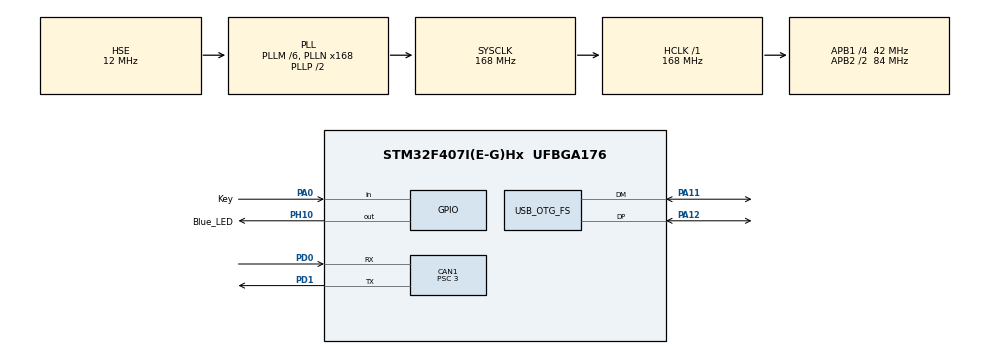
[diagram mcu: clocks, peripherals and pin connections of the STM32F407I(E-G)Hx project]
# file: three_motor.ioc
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CAN1.AutoBusOff=ENABLE
CAN1.AutoRetransmission=ENABLE
CAN1.BS1=CAN_BS1_10TQ
CAN1.BS2=CAN_BS2_3TQ
CAN1.CalculateBaudRate=1000000
CAN1.CalculateTimeBit=1000
CAN1.CalculateTimeQuantum=71.42857142857143
CAN1.Prescaler=3
Mcu.Family=STM32F4
Mcu.Name=STM32F407I(E-G)Hx
Mcu.Package=UFBGA176
NVIC.CAN1_RX0_IRQn=true\:1\:0\:false\:false\:true\:true\:true\:true
NVIC.OTG_FS_IRQn=true\:0\:0\:false\:false\:true\:false\:true\:true
NVIC.PriorityGroup=NVIC_PRIORITYGROUP_4
NVIC.TIM6_DAC_IRQn=true\:1\:0\:false\:false\:true\:true\:true\:true
PA0-WKUP.GPIO_Label=Key
PA0-WKUP.GPIO_PuPd=GPIO_PULLUP
PA0-WKUP.Signal=GPIO_Input
PA11.Mode=Device_Only
PA11.Signal=USB_OTG_FS_DM
PA12.Mode=Device_Only
PA12.Signal=USB_OTG_FS_DP
PD0.Mode=CAN_Activate
PD0.Signal=CAN1_RX
PD1.Mode=CAN_Activate
PD1.Signal=CAN1_TX
PH0-OSC_IN.Mode=HSE-External-Oscillator
PH0-OSC_IN.Signal=RCC_OSC_IN
PH1-OSC_OUT.Mode=HSE-External-Oscillator
PH1-OSC_OUT.Signal=RCC_OSC_OUT
PH10.GPIO_Label=Blue_LED
PH10.Signal=GPIO_Output
ProjectManager.HeapSize=0x200
ProjectManager.StackSize=0x400
ProjectManager.TargetToolchain=CMake
RCC.48MHZClocksFreq_Value=48000000
RCC.AHBFreq_Value=168000000
RCC.APB1CLKDivider=RCC_HCLK_DIV4
RCC.APB1Freq_Value=42000000
RCC.APB1TimFreq_Value=84000000
RCC.APB2CLKDivider=RCC_HCLK_DIV2
RCC.APB2Freq_Value=84000000
RCC.APB2TimFreq_Value=168000000
RCC.CortexFreq_Value=168000000
RCC.HCLKFreq_Value=168000000
RCC.HSE_VALUE=12000000
RCC.HSI_VALUE=16000000
RCC.LSE_VALUE=32768
RCC.PLLM=6
RCC.PLLN=168
RCC.PLLQ=7
RCC.SYSCLKFreq_VALUE=168000000
RCC.SYSCLKSource=RCC_SYSCLKSOURCE_PLLCLK
RCC.VCOOutputFreq_Value=336000000
TIM6.Period=999
TIM6.Prescaler=83
USB_DEVICE.CLASS_NAME_FS=CDC
USB_DEVICE.VirtualMode-CDC_FS=Cdc
USB_DEVICE.VirtualModeFS=Cdc_FS
USB_OTG_FS.VirtualMode=Device_Only
USB_OTG_FS.vbus_sensing_enable=DISABLE
VP_TIM6_VS_ClockSourceINT.Mode=Enable_Timer
VP_USB_DEVICE_VS_USB_DEVICE_CDC_FS.Mode=CDC_FS
board=custom

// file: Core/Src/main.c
/* USER CODE BEGIN Header */
/**
  ******************************************************************************
  * @file           : main.c
  * @brief          : Main program body
  ******************************************************************************
  * @attention
  *
  * Copyright (c) 2026 STMicroelectronics.
  * All rights reserved.
  *
  * This software is licensed under terms that can be found in the LICENSE file
  * in the root directory of this software component.200 Hz 更新频率，而刚选的 20 Hz 是滤波截止频率
  * If no LICENSE file comes with this software, it is provided AS-IS.
  *
  ******************************************************************************
  */
/* USER CODE END Header */
#include "main.h"
#include "usb_device.h"

/* USER CODE BEGIN Includes */
#include "can_motor.h"
#include "gravity_compensation.h"
#include "pid.h"
#include <stdbool.h>
#include <stdio.h>
#include <string.h>
#include "bsp_usb.h"
/* USER CODE END Includes */

/* USER CODE BEGIN PD */
#define USB_TELEMETRY_PERIOD_MS 5U
// 三路最终电流输出比例；上位机修改仅本次上电有效。
#define MOTOR_1_OUTPUT_SCALE 1.0f
#define MOTOR_2_OUTPUT_SCALE 0.9f
#define MOTOR_3_OUTPUT_SCALE 1.1f
#define SPEED_LOOP_PERIOD_MS 5U
// config/333motor-tuning-2026-11-01T07-16-08-871Z.json：每台电机的上升/下降默认PID。
#define MOTOR_1_PID_UP_KP 6.5f
#define MOTOR_1_PID_UP_KI 26.0f
#define MOTOR_1_PID_UP_KD 0.0f
#define MOTOR_1_PID_DOWN_KP 7.0f
#define MOTOR_1_PID_DOWN_KI 15.0f
#define MOTOR_1_PID_DOWN_KD 0.0f
#define MOTOR_2_PID_UP_KP 6.0f
#define MOTOR_2_PID_UP_KI 54.0f
#define MOTOR_2_PID_UP_KD 0.0f
#define MOTOR_2_PID_DOWN_KP 8.4f
#define MOTOR_2_PID_DOWN_KI 40.0f
#define MOTOR_2_PID_DOWN_KD 0.0f
#define MOTOR_3_PID_UP_KP 6.0f
#define MOTOR_3_PID_UP_KI 50.0f
#define MOTOR_3_PID_UP_KD 0.0f
#define MOTOR_3_PID_DOWN_KP 6.5f
#define MOTOR_3_PID_DOWN_KI 40.0f
#define MOTOR_3_PID_DOWN_KD 0.0f
// 角度外环输出单位deg/s；按config/333motor-tuning-2026-11-01T07-16-08-871Z.json固化，上电不启动角度环。
#define ANGLE_PID_KP 9.0f
#define ANGLE_PID_KI 2.0f
#define ANGLE_PID_KD 0.0f
#define ANGLE_MAX_SPEED_DPS 100.0f
#define ANGLE_MIN_SPEED_DPS 50.0f
#define MOTOR_3_ANGLE_PID_UP_KI 3.0f
#define MOTOR_3_ANGLE_MAX_SPEED_DPS 150.0f
#define MOTOR_3_ANGLE_MIN_SPEED_DPS 40.0f
#define ANGLE_SETTLE_ERROR_DEG 0.7f
#define ANGLE_SETTLE_TIME_MS 10U
#define SPEED_FRICTION_RAW 0
#define STATIC_FRICTION_REST_MS 20U
#define MOTOR_1_FRICTION_MOVE_MDEG 1000
#define MOTOR_2_FRICTION_MOVE_MDEG 1000
#define MOTOR_3_FRICTION_MOVE_MDEG 50

/* USER CODE END PD */

CAN_HandleTypeDef hcan1;

TIM_HandleTypeDef htim6;

/* USER CODE BEGIN PV */
// 各电机首次反馈位置标定为 12.77 度，后续按编码器相对变化更新。
volatile float gravity_angle_deg[3] = {CAN_MOTOR_INITIAL_ANGLE_DEG,
                                      CAN_MOTOR_INITIAL_ANGLE_DEG,
                                      CAN_MOTOR_INITIAL_ANGLE_DEG};
// 正解得到的当前位姿；0.09 m 仅为牛顿迭代初值，不是运动目标。
volatile float gravity_pose[3] = {0.0f, 0.0f, 0.09f};
// 输出端重力补偿比例，可在调试器中修改。
volatile float k_g = 1.6f;
volatile float motor_output_scale[3] = {MOTOR_1_OUTPUT_SCALE,
                                      MOTOR_2_OUTPUT_SCALE,
                                      MOTOR_3_OUTPUT_SCALE};
// 所有允许重力补偿的模式：true 按实测上升补偿，false 持续补偿。
volatile bool gravity_upward_only_mode = true;
volatile float gravity_torque_cmd_nm[3];
volatile int16_t gravity_current_cmd[3];
// USB 起动增量/固定指令模式，共享所选电机与心跳；临界区内发布。
static volatile uint8_t control_mode = 1U, test_motor = 0U;
static volatile int16_t test_delta = 0, fixed_current = 0;
static volatile int8_t test_direction = 0;  // -1 抬升；+1 下降，仅表示测试增量方向。
static volatile uint32_t test_last_ms = 0;
static volatile int16_t sent_current[3], sent_requested_raw;
static volatile int32_t sent_base[3], sent_delta[3];
#define RX_CAPACITY 256U
static volatile uint8_t rx_buf[RX_CAPACITY];
static volatile uint16_t rx_head, rx_tail;
static volatile uint8_t rx_overflow;
// 速度单位为输出轴 deg/s；电流及摩擦前馈单位为 raw。
typedef struct { float kp, ki, kd; } SpeedPidGains;
// [电机][0上升/1下降]；每路仅保存一份PID状态，换向时复位。
static SpeedPidGains speed_pid_gains[3][2] = {
    {{MOTOR_1_PID_UP_KP, MOTOR_1_PID_UP_KI, MOTOR_1_PID_UP_KD},
     {MOTOR_1_PID_DOWN_KP, MOTOR_1_PID_DOWN_KI, MOTOR_1_PID_DOWN_KD}},
    {{MOTOR_2_PID_UP_KP, MOTOR_2_PID_UP_KI, MOTOR_2_PID_UP_KD},
     {MOTOR_2_PID_DOWN_KP, MOTOR_2_PID_DOWN_KI, MOTOR_2_PID_DOWN_KD}},
    {{MOTOR_3_PID_UP_KP, MOTOR_3_PID_UP_KI, MOTOR_3_PID_UP_KD},
     {MOTOR_3_PID_DOWN_KP, MOTOR_3_PID_DOWN_KI, MOTOR_3_PID_DOWN_KD}}};
static int8_t speed_pid_direction[3] = {-1, -1, -1};
static Pid_type speed_pid[3], angle_pid[3];
static SpeedPidGains angle_pid_gains[3][2] = {
    {{ANGLE_PID_KP, ANGLE_PID_KI, ANGLE_PID_KD}, {ANGLE_PID_KP, ANGLE_PID_KI, ANGLE_PID_KD}},
    {{ANGLE_PID_KP, ANGLE_PID_KI, ANGLE_PID_KD}, {ANGLE_PID_KP, ANGLE_PID_KI, ANGLE_PID_KD}},
    {{ANGLE_PID_KP, MOTOR_3_ANGLE_PID_UP_KI, ANGLE_PID_KD}, {ANGLE_PID_KP, ANGLE_PID_KI, ANGLE_PID_KD}}};
static int8_t angle_pid_direction[3] = {-1, -1, -1};
static volatile float angle_settle_error_deg = ANGLE_SETTLE_ERROR_DEG;
static volatile uint16_t angle_settle_time_ms = ANGLE_SETTLE_TIME_MS;
// 0纠偏、1范围内计时、2稳定到位；每路独立，判定周期1ms。
static volatile uint8_t angle_settle_state[3];
static uint32_t angle_settle_started_ms[3];
// 333motor-tuning-2026-11-01T07-16-08-871Z.json预设目标；上电仍为普通模式，收到A指令才运行角度环。
static volatile float angle_target[3] = {-70.0f,-30.0f,-30.0f};
static volatile float angle_max_speed[3] = {ANGLE_MAX_SPEED_DPS, ANGLE_MAX_SPEED_DPS,
                                          MOTOR_3_ANGLE_MAX_SPEED_DPS};
static volatile float angle_min_speed[3] = {ANGLE_MIN_SPEED_DPS, ANGLE_MIN_SPEED_DPS,
                                          MOTOR_3_ANGLE_MIN_SPEED_DPS};
static volatile uint16_t speed_period_ms = SPEED_LOOP_PERIOD_MS;
static volatile uint16_t filter_period_ms = CAN_SPEED_FILTER_PERIOD_MS;
static volatile uint8_t speed_divider, filter_divider;
static volatile float speed_target[3], speed_measured[3];
static volatile int16_t speed_pid_cmd[3], speed_friction_cmd[3];
static volatile int32_t friction_last_encoder[3], friction_start_encoder[3];
static volatile int32_t friction_move_mdeg[3] = {MOTOR_1_FRICTION_MOVE_MDEG,
                                               MOTOR_2_FRICTION_MOVE_MDEG,
                                               MOTOR_3_FRICTION_MOVE_MDEG};
static uint32_t friction_last_motion_ms[3];
static volatile int8_t friction_direction[3];
static volatile bool friction_starting[3];
static volatile int16_t motor_friction_raw[3] = {SPEED_FRICTION_RAW,
                                               SPEED_FRICTION_RAW,
                                               SPEED_FRICTION_RAW};

/* USER CODE END PV */

void SystemClock_Config(void);
static void MX_GPIO_Init(void);
static void MX_TIM6_Init(void);
static void MX_CAN1_Init(void);

/* USER CODE BEGIN 0 */
static int32_t ScaleCurrent(int32_t raw, float scale) {
  float value = raw * scale;
  return (int32_t)(value + (value < 0.0f ? -0.5f : 0.5f));
}

static void LoadSpeedPidGains(int motor) {
  const SpeedPidGains *g = &speed_pid_gains[motor][speed_pid_direction[motor] > 0];
  speed_pid[motor].kp = g->kp; speed_pid[motor].ki = g->ki; speed_pid[motor].kd = g->kd;
}

static void LoadAnglePidGains(int motor) {
  const SpeedPidGains *g = &angle_pid_gains[motor][angle_pid_direction[motor] > 0];
  angle_pid[motor].kp = g->kp; angle_pid[motor].ki = g->ki; angle_pid[motor].kd = g->kd;
}

void BSP_USB_ReceiveCallback(const uint8_t *data, uint32_t length) {
  for (uint32_t i = 0; i < length; ++i) {
    uint16_t next = (uint16_t)((rx_head + 1U) % RX_CAPACITY);
    if (next == rx_tail) { rx_overflow = 1U; continue; }
    rx_buf[rx_head] = data[i]; rx_head = next;
  }
}

static void HandleUsbLine(char *line, uint32_t now) {
  int a, b, c, d, e, f, g = 0, consumed = 0;
  if (sscanf(line, "P,%d%n", &a, &consumed) == 1 &&
      line[consumed] == '\0' && a >= 0 && a <= 5000) {
    k_g = (float)a / 1000.0f;
  } else if (sscanf(line, "R,%d,%d,%d%n", &a, &b, &c, &consumed) == 3 &&
             line[consumed] == '\0' && a >= 0 && a <= 5000 &&
             b >= 0 && b <= 5000 && c >= 0 && c <= 5000) {
    uint32_t mask = __get_PRIMASK(); __disable_irq();
    motor_output_scale[0] = a / 1000.0f;
    motor_output_scale[1] = b / 1000.0f;
    motor_output_scale[2] = c / 1000.0f;
    __set_PRIMASK(mask);
  } else if (sscanf(line, "U,%d,%d%n", &a, &b, &consumed) == 2 &&
             line[consumed] == '\0' && a >= 1 && a <= 50 && b >= 1 && b <= 20) {
    uint32_t mask = __get_PRIMASK(); __disable_irq();
    speed_period_ms = (uint16_t)a; filter_period_ms = (uint16_t)b;
    speed_divider = 0U; filter_divider = 0U;
    CAN_SetSpeedFilterPeriod(filter_period_ms);
    for (int i = 0; i < 3; ++i) {
      speed_pid[i].dt = a * 0.001f; Pid_Reset(&speed_pid[i]); speed_pid_cmd[i] = 0;
      angle_pid[i].dt = a * 0.001f; Pid_Reset(&angle_pid[i]); angle_settle_state[i] = 0U;
      if (control_mode == 6U) speed_target[i] = 0.0f;
    }
    __set_PRIMASK(mask);
  } else if (sscanf(line, "H,%d,%d%n", &a, &b, &consumed) == 2 &&
             line[consumed] == '\0' && a >= 1 && a <= 10000 && b >= 1 && b <= 5000) {
    uint32_t mask = __get_PRIMASK(); __disable_irq();
    angle_settle_error_deg = a / 1000.0f; angle_settle_time_ms = (uint16_t)b;
    for (int i = 0; i < 3; ++i) angle_settle_state[i] = 0U;
    __set_PRIMASK(mask);
  } else if (sscanf(line, "J,%d,%d,%d,%d,%d,%d%n,%d%n", &a, &b, &c, &d, &e, &f,
                    &consumed, &g, &consumed) >= 6 &&
             line[consumed] == '\0' && a >= 1 && a <= 3 && (b == -1 || b == 1) &&
             c >= 0 && d >= 0 && e >= 0 && f >= 1 && f <= 180000 && g >= 0 && g <= f) {
    uint32_t mask = __get_PRIMASK(); __disable_irq();
    angle_pid_gains[a - 1][b > 0] = (SpeedPidGains){c / 1000.0f, d / 1000.0f, e / 1000.0f};
    bool reset = angle_pid_direction[a - 1] == b || angle_max_speed[a - 1] != f / 1000.0f ||
                 angle_min_speed[a - 1] != g / 1000.0f;
    angle_min_speed[a - 1] = g / 1000.0f;  // 旧J未带下限时为0，保留旧行为。
    angle_max_speed[a - 1] = f / 1000.0f;
    angle_pid[a - 1].max_output = angle_pid[a - 1].max_ki_output = angle_max_speed[a - 1];
    if (angle_pid_direction[a - 1] == b) LoadAnglePidGains(a - 1);
    if (reset) {
      Pid_Reset(&angle_pid[a - 1]); angle_settle_state[a - 1] = 0U;
      if (control_mode == 6U) { speed_target[a - 1] = 0.0f; speed_pid_cmd[a - 1] = 0; }
    }
    __set_PRIMASK(mask);
  } else if (sscanf(line, "K,%d,%d,%d,%d,%d,%d%n", &a, &b, &c, &d, &e, &f, &consumed) == 6 &&
             line[consumed] == '\0' && a >= 1 && a <= 3 && (b == -1 || b == 1) &&
             c >= 0 && d >= 0 && e >= 0 && f >= 0 && f <= 16384) {
    uint32_t mask = __get_PRIMASK(); __disable_irq();
    speed_pid_gains[a - 1][b > 0] = (SpeedPidGains){c / 1000.0f, d / 1000.0f, e / 1000.0f};
    motor_friction_raw[a - 1] = (int16_t)f;
    if (speed_pid_direction[a - 1] == b) {
      LoadSpeedPidGains(a - 1); Pid_Reset(&speed_pid[a - 1]); speed_pid_cmd[a - 1] = 0;
    }
    __set_PRIMASK(mask);
  } else if (sscanf(line, "K,%d,%d,%d,%d,%d%n", &a, &b, &c, &d, &e, &consumed) == 5 &&
             line[consumed] == '\0' && a >= 1 && a <= 3 &&
             b >= 0 && c >= 0 && d >= 0 && e >= 0 && e <= 16384) {
    // 兼容旧上位机：旧K指令同时设置上下两组。
    uint32_t mask = __get_PRIMASK(); __disable_irq();
    speed_pid_gains[a - 1][0] = speed_pid_gains[a - 1][1] =
        (SpeedPidGains){b / 1000.0f, c / 1000.0f, d / 1000.0f};
    motor_friction_raw[a - 1] = (int16_t)e;
    LoadSpeedPidGains(a - 1); Pid_Reset(&speed_pid[a - 1]); speed_pid_cmd[a - 1] = 0;
    __set_PRIMASK(mask);
  } else if (sscanf(line, "T,%d,%d%n", &a, &b, &consumed) == 2 &&
             line[consumed] == '\0' && a >= 1 && a <= 3 && b >= 1 && b <= 1000) {
    friction_move_mdeg[a - 1] = b;
  } else if (sscanf(line, "B,%d%n", &a, &consumed) == 1 &&
             line[consumed] == '\0' && a >= 1 && a <= 3) {
    uint32_t mask = __get_PRIMASK(); __disable_irq();
    if (control_mode >= 5U && speed_target[a - 1] != 0.0f) {
      friction_last_encoder[a - 1] = CAN_GetMotorMeasure(a)->total_ecd;
      friction_start_encoder[a - 1] = friction_last_encoder[a - 1];
      friction_direction[a - 1] = speed_target[a - 1] > 0.0f ? 1 : -1;
      friction_starting[a - 1] = true;
    }
    __set_PRIMASK(mask);
  } else if (sscanf(line, "A,%d,%d,%d%n", &a, &b, &c, &consumed) == 3 &&
             line[consumed] == '\0' && a >= -180000 && a <= 180000 &&
             b >= -180000 && b <= 180000 && c >= -180000 && c <= 180000) {
    uint32_t mask = __get_PRIMASK(); __disable_irq();
    if (control_mode != 6U) {
      for (int i = 0; i < 3; ++i) {
        Pid_Reset(&angle_pid[i]); Pid_Reset(&speed_pid[i]); angle_settle_state[i] = 0U;
        speed_target[i] = 0.0f; speed_pid_cmd[i] = 0;
      }
    }
    const float target[3] = {a / 1000.0f, b / 1000.0f, c / 1000.0f};
    for (int i = 0; i < 3; ++i) {
      if (angle_target[i] != target[i]) angle_settle_state[i] = 0U;
      angle_target[i] = target[i];
    }
    test_motor = 0U; test_delta = 0; fixed_current = 0; test_direction = 0;
    test_last_ms = now; control_mode = 6U;
    __set_PRIMASK(mask);
  } else if (sscanf(line, "V,%d,%d,%d%n", &a, &b, &c, &consumed) == 3 &&
             line[consumed] == '\0' && a >= -180000 && a <= 180000 &&
             b >= -180000 && b <= 180000 && c >= -180000 && c <= 180000) {
    uint32_t mask = __get_PRIMASK(); __disable_irq();
    if (control_mode != 5U) {
      for (int i = 0; i < 3; ++i) Pid_Reset(&speed_pid[i]);
    }
    speed_target[0] = a / 1000.0f;
    speed_target[1] = b / 1000.0f;
    speed_target[2] = c / 1000.0f;
    test_motor = 0U; test_delta = 0; fixed_current = 0; test_direction = 0;
    test_last_ms = now; control_mode = 5U;
    __set_PRIMASK(mask);
  } else if (sscanf(line, "D,%d,%d,%d%n", &a, &b, &c, &consumed) == 3 &&
             line[consumed] == '\0' && a >= 1 && a <= 3 && (b == -1 || b == 1) &&
             c >= -16384 && c <= 16384 && b * c >= 0) {
    uint32_t mask = __get_PRIMASK(); __disable_irq();
    test_motor = (uint8_t)a; test_direction = (int8_t)b;
    test_delta = (int16_t)c; fixed_current = 0; test_last_ms = now; control_mode = 2U;
    __set_PRIMASK(mask);
  } else if (sscanf(line, "F,%d,%d,%d%n", &a, &b, &c, &consumed) == 3 &&
             line[consumed] == '\0' && a >= 1 && a <= 3 && (b == 0 || b == 1) &&
             c >= -16384 && c <= 16384) {
    uint32_t mask = __get_PRIMASK(); __disable_irq();
    test_motor = (uint8_t)a; fixed_current = (int16_t)c;
    test_delta = 0; test_direction = 0; test_last_ms = now; control_mode = b ? 4U : 3U;
    __set_PRIMASK(mask);
  } else if (strcmp(line, "S") == 0 || strcmp(line, "G") == 0) {
    uint32_t mask = __get_PRIMASK(); __disable_irq();
    test_motor = 0U; test_delta = 0; fixed_current = 0; test_direction = 0;
    control_mode = line[0] == 'S' ? 0U : 1U;
    __set_PRIMASK(mask);
  }
}

static void ProcessUsb(uint32_t now) {
  static char line[64]; static uint8_t used, discard;
  if (rx_overflow) {
    uint32_t mask = __get_PRIMASK(); __disable_irq();
    rx_tail = rx_head; rx_overflow = 0U; __set_PRIMASK(mask);
    used = 0U; discard = 1U;
  }
  while (rx_tail != rx_head) {
    char c = (char)rx_buf[rx_tail]; rx_tail = (uint16_t)((rx_tail + 1U) % RX_CAPACITY);
    if (c == '\n') {
      if (!discard) { if (used && line[used - 1U] == '\r') --used; line[used] = '\0'; HandleUsbLine(line, now); }
      used = 0U; discard = 0U;
    } else if (!discard) {
      if (used < sizeof(line) - 1U) line[used++] = c; else discard = 1U;
    }
  }
}

/* USER CODE END 0 */

int main(void)
{

  /* MCU Configuration--------------------------------------------------------*/

  /* Reset of all peripherals, Initializes the Flash interface and the Systick. */
  HAL_Init();

  /* Configure the system clock */
  SystemClock_Config();

  /* Initialize all configured peripherals */
  MX_GPIO_Init();
  MX_TIM6_Init();
  MX_CAN1_Init();
  MX_USB_DEVICE_Init();
  /* USER CODE BEGIN 2 */
  if (CAN_MotorStart() != HAL_OK) {
    Error_Handler();
  }
  for (int i = 0; i < 3; ++i) {
    const SpeedPidGains *g = &speed_pid_gains[i][0];
    Pid_Init(&speed_pid[i], g->kp, g->ki, g->kd,
             16384.0f, 16384.0f, speed_period_ms * 0.001f);
    g = &angle_pid_gains[i][0];
    Pid_Init(&angle_pid[i], g->kp, g->ki, g->kd,
             angle_max_speed[i], angle_max_speed[i], speed_period_ms * 0.001f);
  }
  if (HAL_TIM_Base_Start_IT(&htim6) != HAL_OK) {
    Error_Handler();
  }
  /* USER CODE END 2 */

  while (1)
  {

    /* USER CODE BEGIN 3 */
    static uint32_t last_compute_ms = 0;
    static uint32_t last_send_ms = 0;
    static char usb_tx_buffer[1280];
    uint32_t now = HAL_GetTick();
    ProcessUsb(now);
    if ((uint32_t)(now - last_compute_ms) >= 5U) {
      last_compute_ms = now;
      float theta_rad[3];
      for (int i = 0; i < 3; ++i) {
        gravity_angle_deg[i] = CAN_GetMotorAngle(i + 1U);
        theta_rad[i] = gravity_angle_deg[i] * 0.01745329252f;
      }
      float pose[3] = {gravity_pose[0], gravity_pose[1], gravity_pose[2]};
      float torque_nm[3];
      int16_t current_cmd[3];
      GravityCompensation(theta_rad, pose, k_g, torque_nm, current_cmd);
      const bool upward_only = gravity_upward_only_mode;
      for (int i = 0; i < 3; ++i) {
        // 实际角度窗口测速：上升为负；下降和静止不加重力补偿。
        if (upward_only &&
            CAN_GetMotorMeasure(i + 1U)->angle_speed_rpm >= 0.0f) {
          torque_nm[i] = 0.0f;
          current_cmd[i] = 0;
        }
        gravity_pose[i] = pose[i];
        gravity_torque_cmd_nm[i] = torque_nm[i];
      }
      // 一次发布三路指令，避免定时中断取到不同计算周期的数据。
      uint32_t primask = __get_PRIMASK();
      __disable_irq();
      for (int i = 0; i < 3; ++i) {
        gravity_current_cmd[i] = current_cmd[i];
      }
      __set_PRIMASK(primask);
    }
    if ((uint32_t)(now - last_send_ms) >= USB_TELEMETRY_PERIOD_MS && BSP_USB_CanSend()) {
      last_send_ms = now;
      // 发送缓冲区保持不变直到 CDC 完成；快照避免中断更新时混读。
      int32_t angle[3], pose[3], scale[3], base[3], delta[3], speed_data[80];
      int16_t cmd[3], fb[3], requested_raw;
      uint8_t mode, motor, fresh = 0U;
      int32_t kg;
      uint32_t mask = __get_PRIMASK(); __disable_irq();
      mode = control_mode; motor = test_motor; requested_raw = sent_requested_raw;
      kg = (int32_t)(k_g * 1000.0f + 0.5f);
      speed_data[72] = ScaleCurrent(1000, angle_settle_error_deg);
      speed_data[73] = angle_settle_time_ms;
      speed_data[27] = speed_period_ms;
      speed_data[28] = filter_period_ms;
      speed_data[29] = (int32_t)(CAN_SPEED_FILTER_CUTOFF_HZ * 1000.0f + 0.5f);
      for (int i = 0; i < 3; ++i) {
        speed_data[i] = ScaleCurrent(1000, speed_measured[i]);
        speed_data[3 + i] = ScaleCurrent(1000, speed_target[i]);
        speed_data[6 + 4 * i] = ScaleCurrent(1000, speed_pid[i].kp);
        speed_data[7 + 4 * i] = ScaleCurrent(1000, speed_pid[i].ki);
        speed_data[8 + 4 * i] = ScaleCurrent(1000, speed_pid[i].kd);
        speed_data[9 + 4 * i] = motor_friction_raw[i];
        speed_data[18 + i] = speed_pid_cmd[i];
        speed_data[21 + i] = speed_friction_cmd[i];
        speed_data[24 + i] = friction_move_mdeg[i];
        speed_data[48 + i] = ScaleCurrent(1000, angle_target[i]);
        speed_data[74 + i] = angle_settle_state[i];
        speed_data[77 + i] = ScaleCurrent(1000, angle_min_speed[i]);
        speed_data[69 + i] = ScaleCurrent(1000, angle_max_speed[i]);
        for (int direction = 0; direction < 2; ++direction) {
          const SpeedPidGains *g = &speed_pid_gains[i][direction];
          int offset = 30 + 6 * i + 3 * direction;
          speed_data[offset] = ScaleCurrent(1000, g->kp);
          speed_data[offset + 1] = ScaleCurrent(1000, g->ki);
          speed_data[offset + 2] = ScaleCurrent(1000, g->kd);
          g = &angle_pid_gains[i][direction];
          offset = 51 + 6 * i + 3 * direction;
          speed_data[offset] = ScaleCurrent(1000, g->kp);
          speed_data[offset + 1] = ScaleCurrent(1000, g->ki);
          speed_data[offset + 2] = ScaleCurrent(1000, g->kd);
        }
        scale[i] = (int32_t)(motor_output_scale[i] * 1000.0f + 0.5f);
        angle[i] = (int32_t)(gravity_angle_deg[i] * 1000.0f);
        pose[i] = (int32_t)(gravity_pose[i] * (i == 2 ? 1000000.0f : 1000.0f));
        base[i] = sent_base[i]; delta[i] = sent_delta[i];
        cmd[i] = sent_current[i]; fb[i] = CAN_GetMotorMeasure(i + 1U)->given_cuurent;
        if (CAN_MotorFeedbackIsFresh(i + 1U, 100U)) fresh |= (uint8_t)(1U << i);
      }
      __set_PRIMASK(mask);
      // V11: 保留V10的105字段，追加三路角度环最小速度(毫度/秒)，共108字段。
      int length = snprintf(usb_tx_buffer, sizeof(usb_tx_buffer),
          "V11,%lu,%u,%ld,%u,%u,%ld,%ld,%ld,%ld,%ld,%ld,"
          "%ld,%ld,%ld,%ld,%ld,%ld,%d,%d,%d,%d,%d,%d,%ld,%ld,%ld,%d",
          (unsigned long)now, mode, (long)kg, motor, fresh,
          (long)angle[0], (long)angle[1], (long)angle[2],
          (long)pose[0], (long)pose[1], (long)pose[2],
          (long)base[0], (long)base[1], (long)base[2],
          (long)delta[0], (long)delta[1], (long)delta[2],
          cmd[0], cmd[1], cmd[2], fb[0], fb[1], fb[2],
          (long)scale[0], (long)scale[1], (long)scale[2], requested_raw);
      for (int i = 0; i < 80; ++i) {
        length += snprintf(usb_tx_buffer + length, sizeof(usb_tx_buffer) - length,
                           ",%ld", (long)speed_data[i]);
      }
      usb_tx_buffer[length++] = '\r'; usb_tx_buffer[length++] = '\n';
      if (length > 0 && length < (int)sizeof(usb_tx_buffer))
        BSP_USB_Send((const uint8_t *)usb_tx_buffer, (uint16_t)length);
    }
  }
  /* USER CODE END 3 */
}

void SystemClock_Config(void)
{
  RCC_OscInitTypeDef RCC_OscInitStruct = {0};
  RCC_ClkInitTypeDef RCC_ClkInitStruct = {0};

  /** Configure the main internal regulator output voltage
  */
  __HAL_RCC_PWR_CLK_ENABLE();
  __HAL_PWR_VOLTAGESCALING_CONFIG(PWR_REGULATOR_VOLTAGE_SCALE1);

  /** Initializes the RCC Oscillators according to the specified parameters
  * in the RCC_OscInitTypeDef structure.
  */
  RCC_OscInitStruct.OscillatorType = RCC_OSCILLATORTYPE_HSE;
  RCC_OscInitStruct.HSEState = RCC_HSE_ON;
  RCC_OscInitStruct.PLL.PLLState = RCC_PLL_ON;
  RCC_OscInitStruct.PLL.PLLSource = RCC_PLLSOURCE_HSE;
  RCC_OscInitStruct.PLL.PLLM = 6;
  RCC_OscInitStruct.PLL.PLLN = 168;
  RCC_OscInitStruct.PLL.PLLP = RCC_PLLP_DIV2;
  RCC_OscInitStruct.PLL.PLLQ = 7;
  if (HAL_RCC_OscConfig(&RCC_OscInitStruct) != HAL_OK)
  {
    Error_Handler();
  }

  /** Initializes the CPU, AHB and APB buses clocks
  */
  RCC_ClkInitStruct.ClockType = RCC_CLOCKTYPE_HCLK|RCC_CLOCKTYPE_SYSCLK
                              |RCC_CLOCKTYPE_PCLK1|RCC_CLOCKTYPE_PCLK2;
  RCC_ClkInitStruct.SYSCLKSource = RCC_SYSCLKSOURCE_PLLCLK;
  RCC_ClkInitStruct.AHBCLKDivider = RCC_SYSCLK_DIV1;
  RCC_ClkInitStruct.APB1CLKDivider = RCC_HCLK_DIV4;
  RCC_ClkInitStruct.APB2CLKDivider = RCC_HCLK_DIV2;

  if (HAL_RCC_ClockConfig(&RCC_ClkInitStruct, FLASH_LATENCY_5) != HAL_OK)
  {
    Error_Handler();
  }
}

static void MX_CAN1_Init(void)
{

  hcan1.Instance = CAN1;
  hcan1.Init.Prescaler = 3;
  hcan1.Init.Mode = CAN_MODE_NORMAL;
  hcan1.Init.SyncJumpWidth = CAN_SJW_1TQ;
  hcan1.Init.TimeSeg1 = CAN_BS1_10TQ;
  hcan1.Init.TimeSeg2 = CAN_BS2_3TQ;
  hcan1.Init.TimeTriggeredMode = DISABLE;
  hcan1.Init.AutoBusOff = DISABLE;
  hcan1.Init.AutoWakeUp = DISABLE;
  hcan1.Init.AutoRetransmission = DISABLE;
  hcan1.Init.ReceiveFifoLocked = DISABLE;
  hcan1.Init.TransmitFifoPriority = DISABLE;
  if (HAL_CAN_Init(&hcan1) != HAL_OK)
  {
    Error_Handler();
  }

}

static void MX_TIM6_Init(void)
{

  TIM_MasterConfigTypeDef sMasterConfig = {0};

  htim6.Instance = TIM6;
  htim6.Init.Prescaler = 83;
  htim6.Init.CounterMode = TIM_COUNTERMODE_UP;
  htim6.Init.Period = 999;
  htim6.Init.AutoReloadPreload = TIM_AUTORELOAD_PRELOAD_DISABLE;
  if (HAL_TIM_Base_Init(&htim6) != HAL_OK)
  {
    Error_Handler();
  }
  sMasterConfig.MasterOutputTrigger = TIM_TRGO_RESET;
  sMasterConfig.MasterSlaveMode = TIM_MASTERSLAVEMODE_DISABLE;
  if (HAL_TIMEx_MasterConfigSynchronization(&htim6, &sMasterConfig) != HAL_OK)
  {
    Error_Handler();
  }

}

static void MX_GPIO_Init(void)
{
  GPIO_InitTypeDef GPIO_InitStruct = {0};

  /* GPIO Ports Clock Enable */
  __HAL_RCC_GPIOD_CLK_ENABLE();
  __HAL_RCC_GPIOA_CLK_ENABLE();
  __HAL_RCC_GPIOH_CLK_ENABLE();

  /*Configure GPIO pin Output Level */
  HAL_GPIO_WritePin(Blue_LED_GPIO_Port, Blue_LED_Pin, GPIO_PIN_RESET);

  /*Configure GPIO pin : Blue_LED_Pin */
  GPIO_InitStruct.Pin = Blue_LED_Pin;
  GPIO_InitStruct.Mode = GPIO_MODE_OUTPUT_PP;
  GPIO_InitStruct.Pull = GPIO_NOPULL;
  GPIO_InitStruct.Speed = GPIO_SPEED_FREQ_LOW;
  HAL_GPIO_Init(Blue_LED_GPIO_Port, &GPIO_InitStruct);

  /*Configure GPIO pin : Key_Pin */
  GPIO_InitStruct.Pin = Key_Pin;
  GPIO_InitStruct.Mode = GPIO_MODE_INPUT;
  GPIO_InitStruct.Pull = GPIO_PULLUP;
  HAL_GPIO_Init(Key_GPIO_Port, &GPIO_InitStruct);

}

/* USER CODE BEGIN 4 */
void HAL_TIM_PeriodElapsedCallback(TIM_HandleTypeDef *htim) {
  if (htim->Instance == TIM6) {
    int16_t current_cmd[3] = {0, 0, 0};
    // 可达范围由上位机严格三维逆解判定；保留失联急停和电流限幅。
    uint8_t fresh = CAN_MotorFeedbackIsFresh(1U, 100U) &&
                    CAN_MotorFeedbackIsFresh(2U, 100U) &&
                    CAN_MotorFeedbackIsFresh(3U, 100U);
    // 心跳超时或反馈中断时撤销测试指令，恢复原控制逻辑。
    if (control_mode >= 2U &&
        (!fresh || (uint32_t)(HAL_GetTick() - test_last_ms) > 300U)) {
      control_mode = control_mode >= 5U ? 0U : 1U;
      test_motor = 0U; test_delta = 0; fixed_current = 0; test_direction = 0;
    }
    // 1kHz电流发送不变，PID和滤波器分别分频，先滤波后计算PID。
    if (++filter_divider >= filter_period_ms) {
      filter_divider = 0U; CAN_FilterSpeeds();
    }
    bool speed_step = ++speed_divider >= speed_period_ms;
    if (speed_step) speed_divider = 0U;
    for (int i = 0; i < 3; ++i) {
      const volatile motor_measure_t *motor = CAN_GetMotorMeasure(i + 1U);
      speed_measured[i] = motor->filtered_speed_rpm * (6.0f / CAN_MOTOR_REDUCTION_RATIO);
      uint32_t now = HAL_GetTick();
      // 连续处于范围内才到位；经过目标但未停留不能算成功。
      if (control_mode == 6U && fresh) {
        float angle = CAN_GetMotorAngle(i + 1U), error = angle_target[i] - angle;
        if (error >= -angle_settle_error_deg && error <= angle_settle_error_deg) {
          if (angle_settle_state[i] == 0U) {
            angle_settle_state[i] = 1U; angle_settle_started_ms[i] = now;
          }
          if (angle_settle_state[i] == 1U &&
              (uint32_t)(now - angle_settle_started_ms[i]) >= angle_settle_time_ms) {
            angle_settle_state[i] = 2U; speed_pid_cmd[i] = 0;
          }
        } else angle_settle_state[i] = 0U;
        if (angle_settle_state[i] == 2U) {
          Pid_Reset(&angle_pid[i]); speed_target[i] = 0.0f;
        } else if (speed_step) {
          int8_t direction = error > 0.0f ? 1 : error < 0.0f ? -1 : angle_pid_direction[i];
          if (direction != angle_pid_direction[i]) {
            angle_pid_direction[i] = direction; LoadAnglePidGains(i); Pid_Reset(&angle_pid[i]);
          }
          speed_target[i] = Pid_update(&angle_pid[i], angle_target[i], angle);
          // 只在到位范围外抬高非零速度；确认期间沿用PID，稳定到位后仍为0。
          if (angle_settle_state[i] == 0U) {
            float minimum = angle_min_speed[i];
            if (speed_target[i] > 0.0f && speed_target[i] < minimum) speed_target[i] = minimum;
            else if (speed_target[i] < 0.0f && speed_target[i] > -minimum) speed_target[i] = -minimum;
          }
        }
      } else { Pid_Reset(&angle_pid[i]); angle_settle_state[i] = 0U; }
      // 直接检查相对起点的净位移；达到阈值后，在本次1 ms输出中撤销。
      int32_t encoder = motor->total_ecd;
      float limit = friction_move_mdeg[i] * 0.001f;
      const float count_to_deg = 360.0f / (8192.0f * CAN_MOTOR_REDUCTION_RATIO);
      bool moved = encoder != friction_last_encoder[i];
      if (moved) friction_last_motion_ms[i] = now;
      friction_last_encoder[i] = encoder;
      int8_t direction = control_mode >= 5U && fresh ?
                        (speed_target[i] > 0.0f) - (speed_target[i] < 0.0f) : 0;
      if (direction != friction_direction[i]) {
        friction_starting[i] = direction != 0 &&
            (uint32_t)(now - friction_last_motion_ms[i]) >= STATIC_FRICTION_REST_MS;
        friction_direction[i] = direction;
        friction_start_encoder[i] = encoder;
      }
      float displacement = (encoder - friction_start_encoder[i]) * count_to_deg;
      if (displacement >= limit || displacement <= -limit || direction == 0)
        friction_starting[i] = false;
      speed_friction_cmd[i] = friction_starting[i] ? direction * motor_friction_raw[i] : 0;
      if (control_mode >= 5U && fresh) {
        // 目标负速度用上升组，正速度用下降组；零目标沿用上一组。
        int8_t pid_direction = speed_target[i] > 0.0f ? 1 :
                               speed_target[i] < 0.0f ? -1 : speed_pid_direction[i];
        if (pid_direction != speed_pid_direction[i]) {
          speed_pid_direction[i] = pid_direction;
          LoadSpeedPidGains(i); Pid_Reset(&speed_pid[i]); speed_pid_cmd[i] = 0;
        }
        if (speed_step) speed_pid_cmd[i] = (int16_t)ScaleCurrent(1,
            Pid_update(&speed_pid[i], speed_target[i], speed_measured[i]));
      } else {
        Pid_Reset(&speed_pid[i]); speed_target[i] = 0.0f;
        speed_pid_cmd[i] = 0; speed_friction_cmd[i] = 0;
      }
    }
    for (int i = 0; i < 3; ++i) {
      sent_base[i] = 0; sent_delta[i] = 0;
      if (fresh && control_mode != 0U) {
        int32_t base = gravity_current_cmd[i];
        // 重力补偿只看实测角度窗口速度，不看目标速度/电流方向。
        if (test_motor == i + 1U && control_mode == 3U) base = 0;
        if (base > 16384) base = 16384;
        if (base < -16384) base = -16384;
        int32_t total = base;
        if (test_motor == i + 1U) {
          if (control_mode == 2U) total += test_delta;
          else if (control_mode == 3U || control_mode == 4U) total += fixed_current;
        }
        if (control_mode >= 5U) total += speed_pid_cmd[i] + speed_friction_cmd[i];
        float scale = motor_output_scale[i];
        base = ScaleCurrent(base, scale);
        total = ScaleCurrent(total, scale);
        if (total > 16384) total = 16384;
        if (total < -16384) total = -16384;
        if (base > 16384) base = 16384;
        if (base < -16384) base = -16384;
        sent_base[i] = base;
        sent_delta[i] = total - base;
        current_cmd[i] = (int16_t)total;
      }
      sent_current[i] = current_cmd[i];
    }
    sent_requested_raw = control_mode == 2U ? test_delta :
                         ((control_mode == 3U || control_mode == 4U) ? fixed_current : 0);
    CAN_cmd_three(current_cmd);
  }
}
/* USER CODE END 4 */

void Error_Handler(void)
{
  __disable_irq();
  while (1)
  {
  }
}
